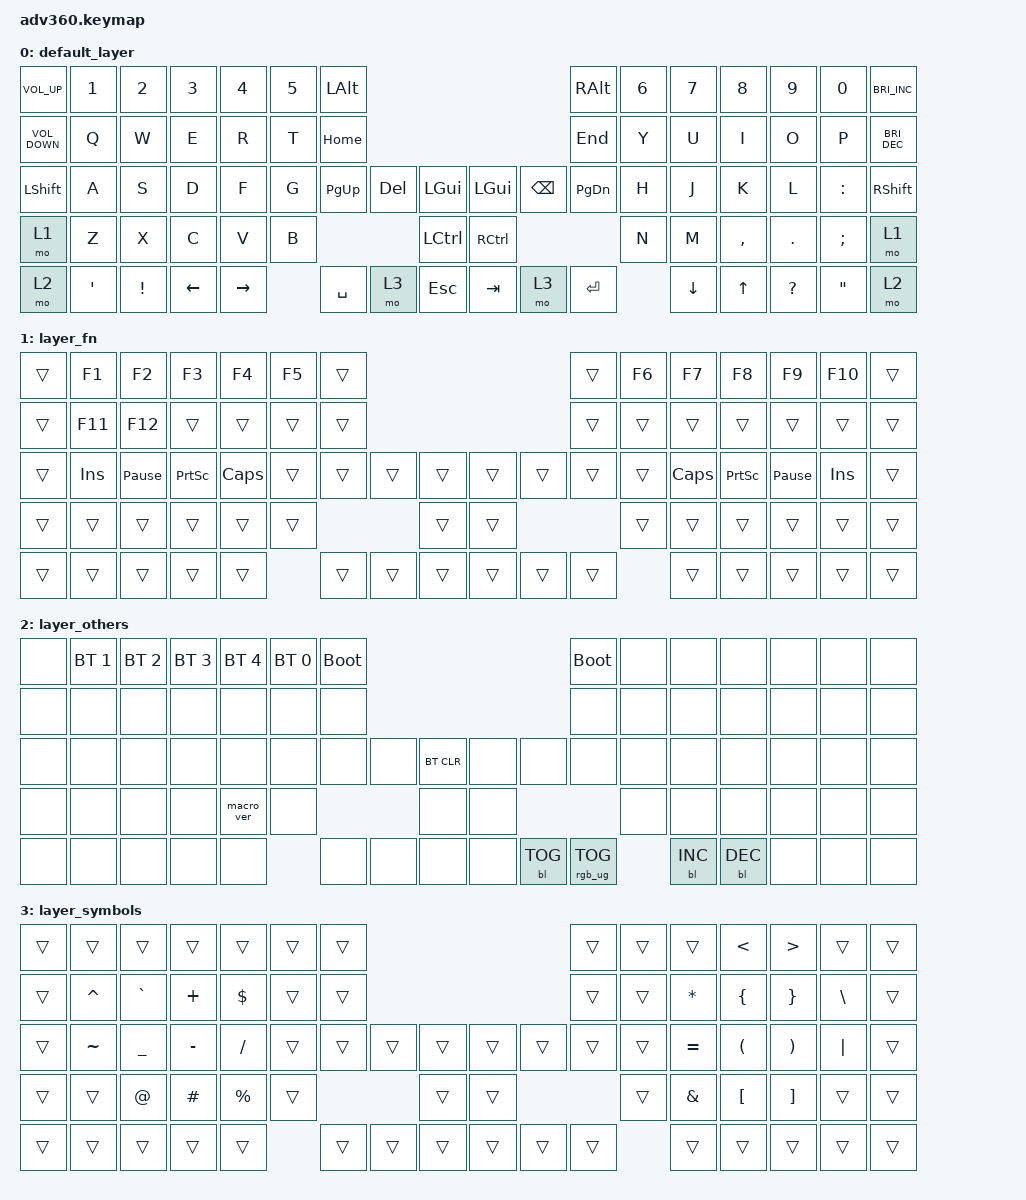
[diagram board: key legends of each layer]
/*
 * Copyright (c) 2020 The ZMK Contributors
 *
 * SPDX-License-Identifier: MIT
 */
/* THIS FILE WAS GENERATED!
 *
 * This file was generated automatically. You may or may not want to
 * edit it directly.
 */

#include <behaviors.dtsi>
#include <dt-bindings/zmk/backlight.h>
#include <dt-bindings/zmk/bt.h>
#include <dt-bindings/zmk/keys.h>
#include <dt-bindings/zmk/rgb.h>

/ {
    behaviors {
        #include "macros.dtsi"
    #include "version.dtsi"

        hm: homerow_mods {
            compatible = "zmk,behavior-hold-tap";
            label = "HOMEROW_MODS";
            #binding-cells = <2>;
            tapping-term-ms = <200>;
            quick_tap_ms = <175>;
            flavor = "tap-preferred";
            bindings = <&kp>, <&kp>;
        };
    };

    keymap {
        compatible = "zmk,keymap";

        default_layer {
            bindings = <
&kp C_VOLUME_UP    &kp NUMBER_1      &kp NUMBER_2     &kp NUMBER_3    &kp NUMBER_4     &kp NUMBER_5  &kp LEFT_ALT                                                                      &kp RIGHT_ALT  &kp NUMBER_6  &kp NUMBER_7    &kp NUMBER_8  &kp NUMBER_9  &kp NUMBER_0       &kp C_BRIGHTNESS_INC
&kp C_VOLUME_DOWN  &kp Q             &kp W            &kp E           &kp R            &kp T         &kp HOME                                                                          &kp END        &kp Y         &kp U           &kp I         &kp O         &kp P              &kp C_BRIGHTNESS_DEC
&kp LEFT_SHIFT     &kp A             &kp S            &kp D           &kp F            &kp G         &kp PAGE_UP   &kp DELETE  &kp LEFT_GUI          &kp LEFT_GUI       &kp BACKSPACE  &kp PAGE_DOWN  &kp H         &kp J           &kp K         &kp L         &kp COLON          &kp RIGHT_SHIFT
&mo 1              &kp Z             &kp X            &kp C           &kp V            &kp B                                   &kp LEFT_CONTROL      &kp RIGHT_CONTROL                                &kp N         &kp M           &kp COMMA     &kp PERIOD    &kp SEMICOLON      &mo 1
&mo 2              &kp SINGLE_QUOTE  &kp EXCLAMATION  &kp LEFT_ARROW  &kp RIGHT_ARROW                &kp SPACE     &mo 3       &kp ESCAPE            &kp TAB            &mo 3          &kp RETURN                   &kp DOWN_ARROW  &kp UP_ARROW  &kp QUESTION  &kp DOUBLE_QUOTES  &mo 2
            >;
        };

        layer_fn {
            bindings = <
&trans  &kp F1      &kp F2           &kp F3           &kp F4        &kp F5  &trans                                      &trans  &kp F6  &kp F7        &kp F8           &kp F9           &kp F10     &trans
&trans  &kp F11     &kp F12          &trans           &trans        &trans  &trans                                      &trans  &trans  &trans        &trans           &trans           &trans      &trans
&trans  &kp INSERT  &kp PAUSE_BREAK  &kp PRINTSCREEN  &kp CAPSLOCK  &trans  &trans  &trans  &trans      &trans  &trans  &trans  &trans  &kp CAPSLOCK  &kp PRINTSCREEN  &kp PAUSE_BREAK  &kp INSERT  &trans
&trans  &trans      &trans           &trans           &trans        &trans                  &trans      &trans                  &trans  &trans        &trans           &trans           &trans      &trans
&trans  &trans      &trans           &trans           &trans                &trans  &trans  &trans      &trans  &trans  &trans          &trans        &trans           &trans           &trans      &trans
            >;
        };

        layer_others {
            bindings = <
&none  &bt BT_SEL 1  &bt BT_SEL 2  &bt BT_SEL 3  &bt BT_SEL 4  &bt BT_SEL 0  &bootloader                                            &bootloader      &none  &none       &none       &none  &none  &none
&none  &none         &none         &none         &none         &none         &none                                                  &none            &none  &none       &none       &none  &none  &none
&none  &none         &none         &none         &none         &none         &none        &none  &bt BT_CLR      &none  &none       &none            &none  &none       &none       &none  &none  &none
&none  &none         &none         &none         &macro_ver    &none                             &none           &none                               &none  &none       &none       &none  &none  &none
&none  &none         &none         &none         &none                       &none        &none  &none           &none  &bl BL_TOG  &rgb_ug RGB_TOG         &bl BL_INC  &bl BL_DEC  &none  &none  &none
            >;
        };

        layer_symbols {
            bindings = <
&trans  &trans     &trans          &trans     &trans       &trans  &trans                                      &trans  &trans  &trans         &kp LESS_THAN         &kp GREATER_THAN       &trans         &trans
&trans  &kp CARET  &kp GRAVE       &kp PLUS   &kp DOLLAR   &trans  &trans                                      &trans  &trans  &kp STAR       &kp LEFT_BRACE        &kp RIGHT_BRACE        &kp BACKSLASH  &trans
&trans  &kp TILDE  &kp UNDERSCORE  &kp MINUS  &kp SLASH    &trans  &trans  &trans  &trans      &trans  &trans  &trans  &trans  &kp EQUAL      &kp LEFT_PARENTHESIS  &kp RIGHT_PARENTHESIS  &kp PIPE       &trans
&trans  &trans     &kp AT          &kp HASH   &kp PERCENT  &trans                  &trans      &trans                  &trans  &kp AMPERSAND  &kp LEFT_BRACKET      &kp RIGHT_BRACKET      &trans         &trans
&trans  &trans     &trans          &trans     &trans               &trans  &trans  &trans      &trans  &trans  &trans          &trans         &trans                &trans                 &trans         &trans
            >;
        };
    };
};
